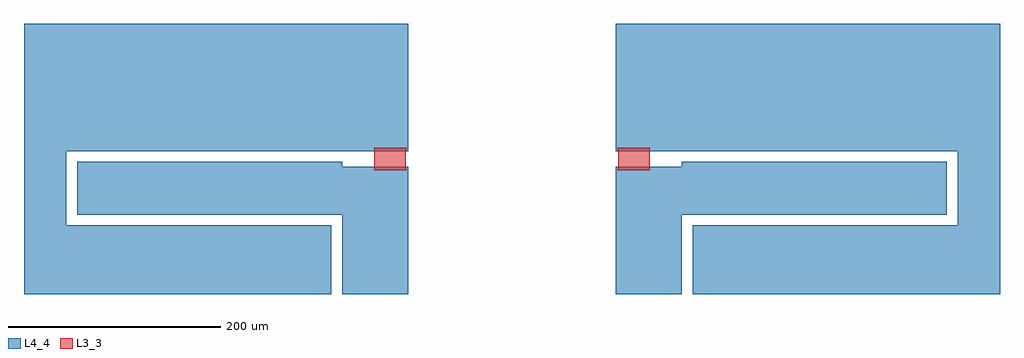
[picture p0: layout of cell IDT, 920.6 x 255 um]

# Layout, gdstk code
import gdstk
lib = gdstk.Library(unit=1e-6, precision=1e-09)
def P(c, l, *ps):  # polygons
    for p in ps: c.add(gdstk.Polygon(p, *l))
L3_3 = (3, 3)
L4_4 = (4, 4)

idt = lib.new_cell('IDT')
P(idt, L3_3, [(-29.7,-7.5),(-29.25,-7.5),(-29.25,6.75),(-29.1,6.75),(-29.1,-7.5),(-28.65,-7.5),(-28.65,6.75),(-28.5,6.75),(-28.5,-7.5),(-28.05,-7.5),(-28.05,6.75),(-27.9,6.75),(-27.9,-7.5),(-27.45,-7.5),(-27.45,6.75),(-27.3,6.75),(-27.3,-7.5),(-26.85,-7.5),(-26.85,6.75),(-26.7,6.75),(-26.7,-7.5),(-26.25,-7.5),(-26.25,6.75),(-26.1,6.75),(-26.1,-7.5),(-25.65,-7.5),(-25.65,6.75),(-25.5,6.75),(-25.5,-7.5),(-25.05,-7.5),(-25.05,6.75),(-24.9,6.75),(-24.9,-7.5),(-24.45,-7.5),(-24.45,6.75),(-24.3,6.75),(-24.3,-7.5),(-23.85,-7.5),(-23.85,6.75),(-23.7,6.75),(-23.7,-7.5),(-23.25,-7.5),(-23.25,6.75),(-23.1,6.75),(-23.1,-7.5),(-22.65,-7.5),(-22.65,6.75),(-22.5,6.75),(-22.5,-7.5),(-22.05,-7.5),(-22.05,6.75),(-21.9,6.75),(-21.9,-7.5),(-21.45,-7.5),(-21.45,6.75),(-21.3,6.75),(-21.3,-7.5),(-20.85,-7.5),(-20.85,6.75),(-20.7,6.75),(-20.7,-7.5),(-20.25,-7.5),(-20.25,6.75),(-20.1,6.75),(-20.1,-7.5),(-19.65,-7.5),(-19.65,6.75),(-19.5,6.75),(-19.5,-7.5),(-19.05,-7.5),(-19.05,6.75),(-18.9,6.75),(-18.9,-7.5),(-18.45,-7.5),(-18.45,6.75),(-18.3,6.75),(-18.3,-7.5),(-17.85,-7.5),(-17.85,6.75),(-17.7,6.75),(-17.7,-7.5),(-17.25,-7.5),(-17.25,6.75),(-17.1,6.75),(-17.1,-7.5),(-16.65,-7.5),(-16.65,6.75),(-16.5,6.75),(-16.5,-7.5),(-16.05,-7.5),(-16.05,6.75),(-15.9,6.75),(-15.9,-7.5),(-15.45,-7.5),(-15.45,6.75),(-15.3,6.75),(-15.3,-7.5),(-14.85,-7.5),(-14.85,6.75),(-14.7,6.75),(-14.7,-7.5),(-14.25,-7.5),(-14.25,6.75),(-14.1,6.75),(-14.1,-7.5),(-13.65,-7.5),(-13.65,6.75),(-13.5,6.75),(-13.5,-7.5),(-13.05,-7.5),(-13.05,6.75),(-12.9,6.75),(-12.9,-7.5),(-12.45,-7.5),(-12.45,6.75),(-12.3,6.75),(-12.3,-7.5),(-11.85,-7.5),(-11.85,6.75),(-11.7,6.75),(-11.7,-7.5),(-11.25,-7.5),(-11.25,6.75),(-11.1,6.75),(-11.1,-7.5),(-10.65,-7.5),(-10.65,6.75),(-10.5,6.75),(-10.5,-7.5),(-10.05,-7.5),(-10.05,6.75),(-9.9,6.75),(-9.9,-7.5),(-9.45,-7.5),(-9.45,6.75),(-9.3,6.75),(-9.3,-7.5),(-8.85,-7.5),(-8.85,6.75),(-8.7,6.75),(-8.7,-7.5),(-8.25,-7.5),(-8.25,6.75),(-8.1,6.75),(-8.1,-7.5),(-7.65,-7.5),(-7.65,6.75),(-7.5,6.75),(-7.5,-7.5),(-7.05,-7.5),(-7.05,6.75),(-6.9,6.75),(-6.9,-7.5),(-6.45,-7.5),(-6.45,6.75),(-6.3,6.75),(-6.3,-7.5),(-5.85,-7.5),(-5.85,6.75),(-5.7,6.75),(-5.7,-7.5),(-5.25,-7.5),(-5.25,6.75),(-5.1,6.75),(-5.1,-7.5),(-4.65,-7.5),(-4.65,6.75),(-4.5,6.75),(-4.5,-7.5),(-4.05,-7.5),(-4.05,6.75),(-3.9,6.75),(-3.9,-7.5),(-3.45,-7.5),(-3.45,6.75),(-3.3,6.75),(-3.3,-7.5),(-2.85,-7.5),(-2.85,6.75),(-2.7,6.75),(-2.7,-7.5),(-2.25,-7.5),(-2.25,6.75),(-2.1,6.75),(-2.1,-7.5),(-1.65,-7.5),(-1.65,6.75),(-1.5,6.75),(-1.5,-7.5),(-1.05,-7.5),(-1.05,6.75),(-0.9,6.75),(-0.9,-7.5),(-0.45,-7.5),(-0.45,6.75),(-0.3,6.75),(-0.3,-7.5),(0.15,-7.5),(0.15,-10.5),(-30.15,-10.5),(-30.15,-7.5),(-29.85,-7.5),(-29.85,6.75),(-29.7,6.75),(-29.7,-7.5)],
  [(-29.55,-6.75),(-29.55,7.5),(-30.15,7.5),(-30.15,10.5),(0.15,10.5),(0.15,7.5),(0,7.5),(0,-6.75),(-0.15,-6.75),(-0.15,7.5),(-0.6,7.5),(-0.6,-6.75),(-0.75,-6.75),(-0.75,7.5),(-1.2,7.5),(-1.2,-6.75),(-1.35,-6.75),(-1.35,7.5),(-1.8,7.5),(-1.8,-6.75),(-1.95,-6.75),(-1.95,7.5),(-2.4,7.5),(-2.4,-6.75),(-2.55,-6.75),(-2.55,7.5),(-3,7.5),(-3,-6.75),(-3.15,-6.75),(-3.15,7.5),(-3.6,7.5),(-3.6,-6.75),(-3.75,-6.75),(-3.75,7.5),(-4.2,7.5),(-4.2,-6.75),(-4.35,-6.75),(-4.35,7.5),(-4.8,7.5),(-4.8,-6.75),(-4.95,-6.75),(-4.95,7.5),(-5.4,7.5),(-5.4,-6.75),(-5.55,-6.75),(-5.55,7.5),(-6,7.5),(-6,-6.75),(-6.15,-6.75),(-6.15,7.5),(-6.6,7.5),(-6.6,-6.75),(-6.75,-6.75),(-6.75,7.5),(-7.2,7.5),(-7.2,-6.75),(-7.35,-6.75),(-7.35,7.5),(-7.8,7.5),(-7.8,-6.75),(-7.95,-6.75),(-7.95,7.5),(-8.4,7.5),(-8.4,-6.75),(-8.55,-6.75),(-8.55,7.5),(-9,7.5),(-9,-6.75),(-9.15,-6.75),(-9.15,7.5),(-9.6,7.5),(-9.6,-6.75),(-9.75,-6.75),(-9.75,7.5),(-10.2,7.5),(-10.2,-6.75),(-10.35,-6.75),(-10.35,7.5),(-10.8,7.5),(-10.8,-6.75),(-10.95,-6.75),(-10.95,7.5),(-11.4,7.5),(-11.4,-6.75),(-11.55,-6.75),(-11.55,7.5),(-12,7.5),(-12,-6.75),(-12.15,-6.75),(-12.15,7.5),(-12.6,7.5),(-12.6,-6.75),(-12.75,-6.75),(-12.75,7.5),(-13.2,7.5),(-13.2,-6.75),(-13.35,-6.75),(-13.35,7.5),(-13.8,7.5),(-13.8,-6.75),(-13.95,-6.75),(-13.95,7.5),(-14.4,7.5),(-14.4,-6.75),(-14.55,-6.75),(-14.55,7.5),(-15,7.5),(-15,-6.75),(-15.15,-6.75),(-15.15,7.5),(-15.6,7.5),(-15.6,-6.75),(-15.75,-6.75),(-15.75,7.5),(-16.2,7.5),(-16.2,-6.75),(-16.35,-6.75),(-16.35,7.5),(-16.8,7.5),(-16.8,-6.75),(-16.95,-6.75),(-16.95,7.5),(-17.4,7.5),(-17.4,-6.75),(-17.55,-6.75),(-17.55,7.5),(-18,7.5),(-18,-6.75),(-18.15,-6.75),(-18.15,7.5),(-18.6,7.5),(-18.6,-6.75),(-18.75,-6.75),(-18.75,7.5),(-19.2,7.5),(-19.2,-6.75),(-19.35,-6.75),(-19.35,7.5),(-19.8,7.5),(-19.8,-6.75),(-19.95,-6.75),(-19.95,7.5),(-20.4,7.5),(-20.4,-6.75),(-20.55,-6.75),(-20.55,7.5),(-21,7.5),(-21,-6.75),(-21.15,-6.75),(-21.15,7.5),(-21.6,7.5),(-21.6,-6.75),(-21.75,-6.75),(-21.75,7.5),(-22.2,7.5),(-22.2,-6.75),(-22.35,-6.75),(-22.35,7.5),(-22.8,7.5),(-22.8,-6.75),(-22.95,-6.75),(-22.95,7.5),(-23.4,7.5),(-23.4,-6.75),(-23.55,-6.75),(-23.55,7.5),(-24,7.5),(-24,-6.75),(-24.15,-6.75),(-24.15,7.5),(-24.6,7.5),(-24.6,-6.75),(-24.75,-6.75),(-24.75,7.5),(-25.2,7.5),(-25.2,-6.75),(-25.35,-6.75),(-25.35,7.5),(-25.8,7.5),(-25.8,-6.75),(-25.95,-6.75),(-25.95,7.5),(-26.4,7.5),(-26.4,-6.75),(-26.55,-6.75),(-26.55,7.5),(-27,7.5),(-27,-6.75),(-27.15,-6.75),(-27.15,7.5),(-27.6,7.5),(-27.6,-6.75),(-27.75,-6.75),(-27.75,7.5),(-28.2,7.5),(-28.2,-6.75),(-28.35,-6.75),(-28.35,7.5),(-28.8,7.5),(-28.8,-6.75),(-28.95,-6.75),(-28.95,7.5),(-29.4,7.5),(-29.4,-6.75),(-29.55,-6.75)],
  [(229.7,-7.5),(229.25,-7.5),(229.25,6.75),(229.1,6.75),(229.1,-7.5),(228.65,-7.5),(228.65,6.75),(228.5,6.75),(228.5,-7.5),(228.05,-7.5),(228.05,6.75),(227.9,6.75),(227.9,-7.5),(227.45,-7.5),(227.45,6.75),(227.3,6.75),(227.3,-7.5),(226.85,-7.5),(226.85,6.75),(226.7,6.75),(226.7,-7.5),(226.25,-7.5),(226.25,6.75),(226.1,6.75),(226.1,-7.5),(225.65,-7.5),(225.65,6.75),(225.5,6.75),(225.5,-7.5),(225.05,-7.5),(225.05,6.75),(224.9,6.75),(224.9,-7.5),(224.45,-7.5),(224.45,6.75),(224.3,6.75),(224.3,-7.5),(223.85,-7.5),(223.85,6.75),(223.7,6.75),(223.7,-7.5),(223.25,-7.5),(223.25,6.75),(223.1,6.75),(223.1,-7.5),(222.65,-7.5),(222.65,6.75),(222.5,6.75),(222.5,-7.5),(222.05,-7.5),(222.05,6.75),(221.9,6.75),(221.9,-7.5),(221.45,-7.5),(221.45,6.75),(221.3,6.75),(221.3,-7.5),(220.85,-7.5),(220.85,6.75),(220.7,6.75),(220.7,-7.5),(220.25,-7.5),(220.25,6.75),(220.1,6.75),(220.1,-7.5),(219.65,-7.5),(219.65,6.75),(219.5,6.75),(219.5,-7.5),(219.05,-7.5),(219.05,6.75),(218.9,6.75),(218.9,-7.5),(218.45,-7.5),(218.45,6.75),(218.3,6.75),(218.3,-7.5),(217.85,-7.5),(217.85,6.75),(217.7,6.75),(217.7,-7.5),(217.25,-7.5),(217.25,6.75),(217.1,6.75),(217.1,-7.5),(216.65,-7.5),(216.65,6.75),(216.5,6.75),(216.5,-7.5),(216.05,-7.5),(216.05,6.75),(215.9,6.75),(215.9,-7.5),(215.45,-7.5),(215.45,6.75),(215.3,6.75),(215.3,-7.5),(214.85,-7.5),(214.85,6.75),(214.7,6.75),(214.7,-7.5),(214.25,-7.5),(214.25,6.75),(214.1,6.75),(214.1,-7.5),(213.65,-7.5),(213.65,6.75),(213.5,6.75),(213.5,-7.5),(213.05,-7.5),(213.05,6.75),(212.9,6.75),(212.9,-7.5),(212.45,-7.5),(212.45,6.75),(212.3,6.75),(212.3,-7.5),(211.85,-7.5),(211.85,6.75),(211.7,6.75),(211.7,-7.5),(211.25,-7.5),(211.25,6.75),(211.1,6.75),(211.1,-7.5),(210.65,-7.5),(210.65,6.75),(210.5,6.75),(210.5,-7.5),(210.05,-7.5),(210.05,6.75),(209.9,6.75),(209.9,-7.5),(209.45,-7.5),(209.45,6.75),(209.3,6.75),(209.3,-7.5),(208.85,-7.5),(208.85,6.75),(208.7,6.75),(208.7,-7.5),(208.25,-7.5),(208.25,6.75),(208.1,6.75),(208.1,-7.5),(207.65,-7.5),(207.65,6.75),(207.5,6.75),(207.5,-7.5),(207.05,-7.5),(207.05,6.75),(206.9,6.75),(206.9,-7.5),(206.45,-7.5),(206.45,6.75),(206.3,6.75),(206.3,-7.5),(205.85,-7.5),(205.85,6.75),(205.7,6.75),(205.7,-7.5),(205.25,-7.5),(205.25,6.75),(205.1,6.75),(205.1,-7.5),(204.65,-7.5),(204.65,6.75),(204.5,6.75),(204.5,-7.5),(204.05,-7.5),(204.05,6.75),(203.9,6.75),(203.9,-7.5),(203.45,-7.5),(203.45,6.75),(203.3,6.75),(203.3,-7.5),(202.85,-7.5),(202.85,6.75),(202.7,6.75),(202.7,-7.5),(202.25,-7.5),(202.25,6.75),(202.1,6.75),(202.1,-7.5),(201.65,-7.5),(201.65,6.75),(201.5,6.75),(201.5,-7.5),(201.05,-7.5),(201.05,6.75),(200.9,6.75),(200.9,-7.5),(200.45,-7.5),(200.45,6.75),(200.3,6.75),(200.3,-7.5),(199.85,-7.5),(199.85,-10.5),(230.15,-10.5),(230.15,-7.5),(229.85,-7.5),(229.85,6.75),(229.7,6.75),(229.7,-7.5)],
  [(229.55,-6.75),(229.55,7.5),(230.15,7.5),(230.15,10.5),(199.85,10.5),(199.85,7.5),(200,7.5),(200,-6.75),(200.15,-6.75),(200.15,7.5),(200.6,7.5),(200.6,-6.75),(200.75,-6.75),(200.75,7.5),(201.2,7.5),(201.2,-6.75),(201.35,-6.75),(201.35,7.5),(201.8,7.5),(201.8,-6.75),(201.95,-6.75),(201.95,7.5),(202.4,7.5),(202.4,-6.75),(202.55,-6.75),(202.55,7.5),(203,7.5),(203,-6.75),(203.15,-6.75),(203.15,7.5),(203.6,7.5),(203.6,-6.75),(203.75,-6.75),(203.75,7.5),(204.2,7.5),(204.2,-6.75),(204.35,-6.75),(204.35,7.5),(204.8,7.5),(204.8,-6.75),(204.95,-6.75),(204.95,7.5),(205.4,7.5),(205.4,-6.75),(205.55,-6.75),(205.55,7.5),(206,7.5),(206,-6.75),(206.15,-6.75),(206.15,7.5),(206.6,7.5),(206.6,-6.75),(206.75,-6.75),(206.75,7.5),(207.2,7.5),(207.2,-6.75),(207.35,-6.75),(207.35,7.5),(207.8,7.5),(207.8,-6.75),(207.95,-6.75),(207.95,7.5),(208.4,7.5),(208.4,-6.75),(208.55,-6.75),(208.55,7.5),(209,7.5),(209,-6.75),(209.15,-6.75),(209.15,7.5),(209.6,7.5),(209.6,-6.75),(209.75,-6.75),(209.75,7.5),(210.2,7.5),(210.2,-6.75),(210.35,-6.75),(210.35,7.5),(210.8,7.5),(210.8,-6.75),(210.95,-6.75),(210.95,7.5),(211.4,7.5),(211.4,-6.75),(211.55,-6.75),(211.55,7.5),(212,7.5),(212,-6.75),(212.15,-6.75),(212.15,7.5),(212.6,7.5),(212.6,-6.75),(212.75,-6.75),(212.75,7.5),(213.2,7.5),(213.2,-6.75),(213.35,-6.75),(213.35,7.5),(213.8,7.5),(213.8,-6.75),(213.95,-6.75),(213.95,7.5),(214.4,7.5),(214.4,-6.75),(214.55,-6.75),(214.55,7.5),(215,7.5),(215,-6.75),(215.15,-6.75),(215.15,7.5),(215.6,7.5),(215.6,-6.75),(215.75,-6.75),(215.75,7.5),(216.2,7.5),(216.2,-6.75),(216.35,-6.75),(216.35,7.5),(216.8,7.5),(216.8,-6.75),(216.95,-6.75),(216.95,7.5),(217.4,7.5),(217.4,-6.75),(217.55,-6.75),(217.55,7.5),(218,7.5),(218,-6.75),(218.15,-6.75),(218.15,7.5),(218.6,7.5),(218.6,-6.75),(218.75,-6.75),(218.75,7.5),(219.2,7.5),(219.2,-6.75),(219.35,-6.75),(219.35,7.5),(219.8,7.5),(219.8,-6.75),(219.95,-6.75),(219.95,7.5),(220.4,7.5),(220.4,-6.75),(220.55,-6.75),(220.55,7.5),(221,7.5),(221,-6.75),(221.15,-6.75),(221.15,7.5),(221.6,7.5),(221.6,-6.75),(221.75,-6.75),(221.75,7.5),(222.2,7.5),(222.2,-6.75),(222.35,-6.75),(222.35,7.5),(222.8,7.5),(222.8,-6.75),(222.95,-6.75),(222.95,7.5),(223.4,7.5),(223.4,-6.75),(223.55,-6.75),(223.55,7.5),(224,7.5),(224,-6.75),(224.15,-6.75),(224.15,7.5),(224.6,7.5),(224.6,-6.75),(224.75,-6.75),(224.75,7.5),(225.2,7.5),(225.2,-6.75),(225.35,-6.75),(225.35,7.5),(225.8,7.5),(225.8,-6.75),(225.95,-6.75),(225.95,7.5),(226.4,7.5),(226.4,-6.75),(226.55,-6.75),(226.55,7.5),(227,7.5),(227,-6.75),(227.15,-6.75),(227.15,7.5),(227.6,7.5),(227.6,-6.75),(227.75,-6.75),(227.75,7.5),(228.2,7.5),(228.2,-6.75),(228.35,-6.75),(228.35,7.5),(228.8,7.5),(228.8,-6.75),(228.95,-6.75),(228.95,7.5),(229.4,7.5),(229.4,-6.75),(229.55,-6.75)])
P(idt, L4_4, [(-70.3,-62.5),(-70.3,-127.5),(-360.3,-127.5),(-360.3,-62.5),(-360.3,7.5),(-360.3,127.5),(2,127.5),(2,7.5),(-320.3,7.5),(-320.3,-62.5),(-70.3,-62.5)],
  [(2,-7.5),(2,-127.5),(-60.3,-127.5),(-60.3,-52.5),(-310.3,-52.5),(-310.3,-2.5),(-60.3,-2.5),(-60.3,-7.5),(2,-7.5)],
  [(270.3,-62.5),(270.3,-127.5),(560.3,-127.5),(560.3,-62.5),(560.3,7.5),(560.3,127.5),(198,127.5),(198,7.5),(520.3,7.5),(520.3,-62.5),(270.3,-62.5)],
  [(198,-7.5),(198,-127.5),(260.3,-127.5),(260.3,-52.5),(510.3,-52.5),(510.3,-2.5),(260.3,-2.5),(260.3,-7.5),(198,-7.5)])

lib.write_gds('IDT.gds')
